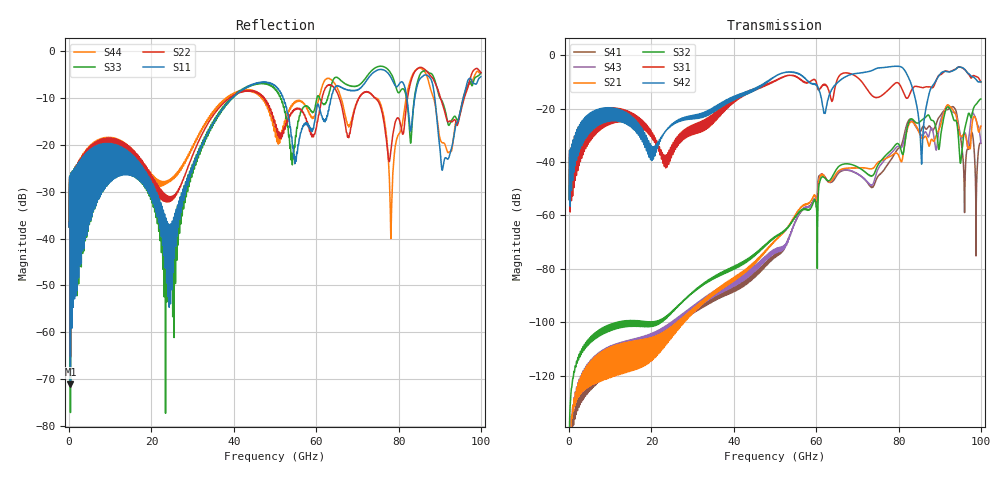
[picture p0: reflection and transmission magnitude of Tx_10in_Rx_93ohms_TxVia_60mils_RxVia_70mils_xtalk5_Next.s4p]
! Info: Touchstone file created by Circ.  Input file=Tx_10in_Rx_93ohms_TxVia_60mils_RxVia_70mils.circ
# Hz S RI R 50
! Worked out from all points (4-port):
!   10000 points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, 10 MHz to 100 GHz, reference 50 ohm
!   strongest paths, dB at 10 MHz, 25.01 GHz, 50.01 GHz, 75.01 GHz, 100 GHz:
!     S42: -54.1, -25.8, -7.9, -4.8, -10.0
!     S31: -54.0, -33.6, -9.5, -15.9, -10.1
!     S32: -156.7, -96.2, -68.2, -41.1, -16.4
!     S21: -167.6, -105.6, -69.5, -40.2, -26.6
!     S43: -158.1, -103.9, -73.6, -42.7, -32.8
!     S41: -158.4, -102.0, -75.1, -45.4, -32.9
!   lowest |S11| = -71.1 dB at 330 MHz (marker M1), VSWR 1.00, Z = 50 - j0.0154 ohm
!   |S11| at or under -10 dB: start of sweep to 39.58 GHz; 51.96 GHz to 63.7 GHz (11.74 GHz wide, 20.3 % of centre); 88.81 GHz to 95.74 GHz (6.921 GHz wide, 7.5 % of centre) (the widest 3 of 4)
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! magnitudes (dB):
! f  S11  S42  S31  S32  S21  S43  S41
! 10 MHz  -37.6  -54.1  -54.0  -156.7  -167.6  -158.1  -158.4
! 330 MHz  -71.1  -40.3  -40.3  -129.9  -140.6  -140.5  -144.2
! 24.76 GHz  -36.9  -26.2  -36.6  -96.8  -103.6  -101.5  -101.6
! 40.19 GHz  -9.5  -16.6  -17.4  -79.0  -83.2  -84.5  -86.8
! 78.19 GHz  -5.6  -4.3  -12.0  -35.6  -37.7  -36.7  -39.1
! 85.58 GHz  -5.6  -40.6  -12.1  -24.4  -31.1  -30.1  -27.8
! 100 GHz  -5.4  -10.0  -10.1  -16.4  -26.6  -32.8  -32.9
